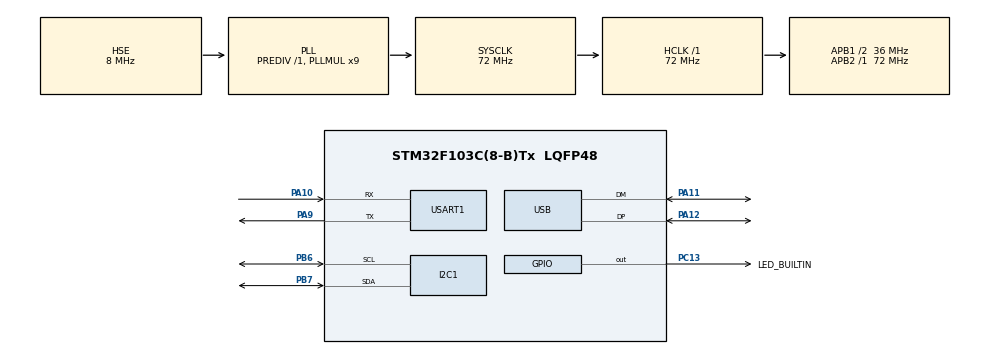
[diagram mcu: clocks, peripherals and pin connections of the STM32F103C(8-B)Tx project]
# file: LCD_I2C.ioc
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I2C1.I2C_Mode=I2C_Standard
Mcu.Family=STM32F1
Mcu.Name=STM32F103C(8-B)Tx
Mcu.Package=LQFP48
NVIC.PriorityGroup=NVIC_PRIORITYGROUP_4
NVIC.USB_LP_CAN1_RX0_IRQn=true\:0\:0\:false\:false\:true\:false\:true\:true
PA10.Mode=Asynchronous
PA10.Signal=USART1_RX
PA11.Mode=Device
PA11.Signal=USB_DM
PA12.Mode=Device
PA12.Signal=USB_DP
PA13.Mode=Serial_Wire
PA13.Signal=SYS_JTMS-SWDIO
PA14.Mode=Serial_Wire
PA14.Signal=SYS_JTCK-SWCLK
PA9.Mode=Asynchronous
PA9.Signal=USART1_TX
PB6.Mode=I2C
PB6.Signal=I2C1_SCL
PB7.Mode=I2C
PB7.Signal=I2C1_SDA
PC13-TAMPER-RTC.GPIO_Label=LED_BUILTIN
PC13-TAMPER-RTC.PinState=GPIO_PIN_RESET
PC13-TAMPER-RTC.Signal=GPIO_Output
PD0-OSC_IN.Mode=HSE-External-Oscillator
PD0-OSC_IN.Signal=RCC_OSC_IN
PD1-OSC_OUT.Mode=HSE-External-Oscillator
PD1-OSC_OUT.Signal=RCC_OSC_OUT
ProjectManager.HeapSize=0x200
ProjectManager.StackSize=0x400
ProjectManager.TargetToolchain=STM32CubeIDE
RCC.AHBFreq_Value=72000000
RCC.APB1CLKDivider=RCC_HCLK_DIV2
RCC.APB1Freq_Value=36000000
RCC.APB1TimFreq_Value=72000000
RCC.APB2Freq_Value=72000000
RCC.APB2TimFreq_Value=72000000
RCC.HCLKFreq_Value=72000000
RCC.PLLMUL=RCC_PLL_MUL9
RCC.PLLSourceVirtual=RCC_PLLSOURCE_HSE
RCC.SYSCLKFreq_VALUE=72000000
RCC.SYSCLKSource=RCC_SYSCLKSOURCE_PLLCLK
RCC.USBFreq_Value=48000000
RCC.USBPrescaler=RCC_USBCLKSOURCE_PLL_DIV1_5
USART1.VirtualMode=VM_ASYNC
USB_DEVICE.CLASS_NAME_FS=CDC
USB_DEVICE.VirtualMode=Cdc
USB_DEVICE.VirtualModeFS=Cdc_FS
VP_USB_DEVICE_VS_USB_DEVICE_CDC_FS.Mode=CDC_FS
board=custom

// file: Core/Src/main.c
/* USER CODE BEGIN Header */
/**
  ******************************************************************************
  * @file           : main.c
  * @brief          : Main program body
  ******************************************************************************
  * @attention
  *
  * Copyright (c) 2023 STMicroelectronics.
  * All rights reserved.
  *
  * This software is licensed under terms that can be found in the LICENSE file
  * in the root directory of this software component.
  * If no LICENSE file comes with this software, it is provided AS-IS.
  *
  ******************************************************************************
  */
/* USER CODE END Header */
#include "main.h"
#include "i2c.h"
#include "usart.h"
#include "usb_device.h"
#include "gpio.h"

/* USER CODE BEGIN Includes */
#include "PCF8574/PCF8574.h"
#include "string.h"
#include "stdio.h"
#include "usbd_cdc_if.h"
/* USER CODE END Includes */

void SystemClock_Config(void);

int main(void)
{

  /* MCU Configuration--------------------------------------------------------*/

  /* Reset of all peripherals, Initializes the Flash interface and the Systick. */
  HAL_Init();

  /* Configure the system clock */
  SystemClock_Config();

  /* Initialize all configured peripherals */
  MX_GPIO_Init();
  MX_I2C1_Init();
  MX_USART1_UART_Init();
  MX_USB_DEVICE_Init();
  /* USER CODE BEGIN 2 */

  //Scanner I2C
	//	char buffer[40] = " ";
	//	for(uint8_t i = 0; i < 128; i++){
	//		if(HAL_I2C_IsDeviceReady(&hi2c1, i<<1, 3, 5) == HAL_OK){
	//			sprintf(buffer, "Dispositivo encontrado en: [0x%X]\r\n", i);
	//			HAL_UART_Transmit(&huart1, (uint8_t*)buffer, strlen(buffer), 2000);
	//		}
	//		HAL_Delay(1);
	//	}

  HAL_Delay(1500);
  lcd_Init(4);
  lcd_Clear();
  lcd_PrintStr("Inicializando...");
  HAL_Delay(1000);

  uint16_t i = 0;
  uint8_t txt[30];

  /* USER CODE END 2 */

  /* Infinite loop */
  /* USER CODE BEGIN WHILE */
  while (1)  {
	  HAL_GPIO_TogglePin(GPIOC, GPIO_PIN_13);
	  HAL_Delay(500);

	  sprintf((char*)txt, "Cant: %d", i);
	  lcd_SetCursor(0,  3);
	  lcd_PrintStr((char*)txt);

	  CDC_Transmit_FS(txt, strlen((char*)txt));

	  i++;

    /* USER CODE END WHILE */

  }
}

void SystemClock_Config(void)
{
  RCC_OscInitTypeDef RCC_OscInitStruct = {0};
  RCC_ClkInitTypeDef RCC_ClkInitStruct = {0};
  RCC_PeriphCLKInitTypeDef PeriphClkInit = {0};

  /** Initializes the RCC Oscillators according to the specified parameters
  * in the RCC_OscInitTypeDef structure.
  */
  RCC_OscInitStruct.OscillatorType = RCC_OSCILLATORTYPE_HSE;
  RCC_OscInitStruct.HSEState = RCC_HSE_ON;
  RCC_OscInitStruct.HSEPredivValue = RCC_HSE_PREDIV_DIV1;
  RCC_OscInitStruct.HSIState = RCC_HSI_ON;
  RCC_OscInitStruct.PLL.PLLState = RCC_PLL_ON;
  RCC_OscInitStruct.PLL.PLLSource = RCC_PLLSOURCE_HSE;
  RCC_OscInitStruct.PLL.PLLMUL = RCC_PLL_MUL9;
  if (HAL_RCC_OscConfig(&RCC_OscInitStruct) != HAL_OK)
  {
    Error_Handler();
  }

  /** Initializes the CPU, AHB and APB buses clocks
  */
  RCC_ClkInitStruct.ClockType = RCC_CLOCKTYPE_HCLK|RCC_CLOCKTYPE_SYSCLK
                              |RCC_CLOCKTYPE_PCLK1|RCC_CLOCKTYPE_PCLK2;
  RCC_ClkInitStruct.SYSCLKSource = RCC_SYSCLKSOURCE_PLLCLK;
  RCC_ClkInitStruct.AHBCLKDivider = RCC_SYSCLK_DIV1;
  RCC_ClkInitStruct.APB1CLKDivider = RCC_HCLK_DIV2;
  RCC_ClkInitStruct.APB2CLKDivider = RCC_HCLK_DIV1;

  if (HAL_RCC_ClockConfig(&RCC_ClkInitStruct, FLASH_LATENCY_2) != HAL_OK)
  {
    Error_Handler();
  }
  PeriphClkInit.PeriphClockSelection = RCC_PERIPHCLK_USB;
  PeriphClkInit.UsbClockSelection = RCC_USBCLKSOURCE_PLL_DIV1_5;
  if (HAL_RCCEx_PeriphCLKConfig(&PeriphClkInit) != HAL_OK)
  {
    Error_Handler();
  }
}

void Error_Handler(void)
{
  __disable_irq();
  while (1)
  {
  }
}
